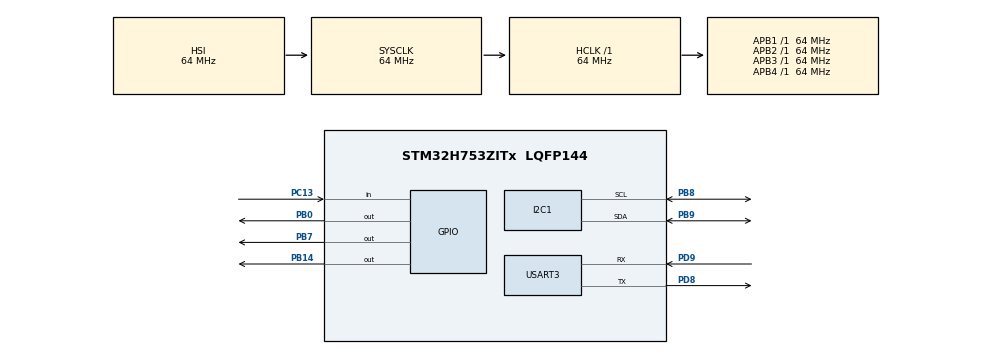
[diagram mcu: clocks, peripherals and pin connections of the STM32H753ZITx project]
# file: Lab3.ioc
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CORTEX_M7.CPU_DCache=Disabled
CORTEX_M7.CPU_ICache=Disabled
CORTEX_M7.MPU_Control=__NULL
CORTEX_M7.default_mode_Activation=1
Dma.I2C1_RX.1.Direction=DMA_PERIPH_TO_MEMORY
Dma.I2C1_RX.1.EventEnable=DISABLE
Dma.I2C1_RX.1.FIFOMode=DMA_FIFOMODE_DISABLE
Dma.I2C1_RX.1.Instance=DMA1_Stream1
Dma.I2C1_RX.1.MemDataAlignment=DMA_MDATAALIGN_BYTE
Dma.I2C1_RX.1.MemInc=DMA_MINC_ENABLE
Dma.I2C1_RX.1.Mode=DMA_NORMAL
Dma.I2C1_RX.1.PeriphDataAlignment=DMA_PDATAALIGN_BYTE
Dma.I2C1_RX.1.PeriphInc=DMA_PINC_DISABLE
Dma.I2C1_RX.1.Polarity=HAL_DMAMUX_REQ_GEN_RISING
Dma.I2C1_RX.1.Priority=DMA_PRIORITY_LOW
Dma.I2C1_RX.1.RequestNumber=1
Dma.I2C1_RX.1.SignalID=NONE
Dma.I2C1_RX.1.SyncEnable=DISABLE
Dma.I2C1_RX.1.SyncPolarity=HAL_DMAMUX_SYNC_NO_EVENT
Dma.I2C1_RX.1.SyncRequestNumber=1
Dma.I2C1_RX.1.SyncSignalID=NONE
Dma.I2C1_TX.0.Direction=DMA_MEMORY_TO_PERIPH
Dma.I2C1_TX.0.EventEnable=DISABLE
Dma.I2C1_TX.0.FIFOMode=DMA_FIFOMODE_DISABLE
Dma.I2C1_TX.0.Instance=DMA1_Stream0
Dma.I2C1_TX.0.MemDataAlignment=DMA_MDATAALIGN_BYTE
Dma.I2C1_TX.0.MemInc=DMA_MINC_ENABLE
Dma.I2C1_TX.0.Mode=DMA_NORMAL
Dma.I2C1_TX.0.PeriphDataAlignment=DMA_PDATAALIGN_BYTE
Dma.I2C1_TX.0.PeriphInc=DMA_PINC_DISABLE
Dma.I2C1_TX.0.Polarity=HAL_DMAMUX_REQ_GEN_RISING
Dma.I2C1_TX.0.Priority=DMA_PRIORITY_LOW
Dma.I2C1_TX.0.RequestNumber=1
Dma.I2C1_TX.0.SignalID=NONE
Dma.I2C1_TX.0.SyncEnable=DISABLE
Dma.I2C1_TX.0.SyncPolarity=HAL_DMAMUX_SYNC_NO_EVENT
Dma.I2C1_TX.0.SyncRequestNumber=1
Dma.I2C1_TX.0.SyncSignalID=NONE
Dma.Request0=I2C1_TX
Dma.Request1=I2C1_RX
Mcu.Family=STM32H7
Mcu.Name=STM32H753ZITx
Mcu.Package=LQFP144
NUCLEO-H753ZI.BUTTON=1
NUCLEO-H753ZI.LD1=true
NUCLEO-H753ZI.LD2=true
NUCLEO-H753ZI.LD3=true
NUCLEO-H753ZI.VCP=false
NVIC.DMA1_Stream0_IRQn=true\:0\:0\:false\:false\:true\:false\:true\:true
NVIC.DMA1_Stream1_IRQn=true\:0\:0\:false\:false\:true\:false\:true\:true
NVIC.EXTI15_10_IRQn=true\:0\:0\:false\:false\:true\:false\:true\:true
NVIC.I2C1_ER_IRQn=true\:0\:0\:false\:false\:true\:true\:true\:true
NVIC.I2C1_EV_IRQn=true\:0\:0\:false\:false\:true\:true\:true\:true
NVIC.PriorityGroup=NVIC_PRIORITYGROUP_4
NVIC.USART3_IRQn=true\:0\:0\:false\:false\:true\:true\:true\:true
PB0.Signal=GPIO_Output
PB14.Signal=GPIO_Output
PB7.Signal=GPIO_Output
PB8.GPIO_Pu=GPIO_PULLUP
PB8.GPIO_Speed=GPIO_SPEED_FREQ_VERY_HIGH
PB8.Mode=I2C
PB8.Signal=I2C1_SCL
PB9.GPIO_Pu=GPIO_PULLUP
PB9.GPIO_Speed=GPIO_SPEED_FREQ_VERY_HIGH
PB9.Mode=I2C
PB9.Signal=I2C1_SDA
PC13.Signal=GPIO_Input
PC14-OSC32_IN\ (OSC32_IN).Signal=RCC_OSC32_IN
PC15-OSC32_OUT\ (OSC32_OUT).Signal=RCC_OSC32_OUT
PD8.GPIO_Speed=GPIO_SPEED_FREQ_VERY_HIGH
PD8.Mode=Asynchronous
PD8.Signal=USART3_TX
PD9.GPIO_Speed=GPIO_SPEED_FREQ_VERY_HIGH
PD9.Mode=Asynchronous
PD9.Signal=USART3_RX
PH0-OSC_IN\ (PH0).Signal=RCC_OSC_IN
PH1-OSC_OUT\ (PH1).Signal=RCC_OSC_OUT
ProjectManager.HeapSize=0x200
ProjectManager.StackSize=0x400
ProjectManager.TargetToolchain=STM32CubeIDE
RCC.ADCFreq_Value=129000000
RCC.APB1Freq_Value=64000000
RCC.APB2Freq_Value=64000000
RCC.APB3Freq_Value=64000000
RCC.APB4Freq_Value=64000000
RCC.CortexFreq_Value=64000000
RCC.DIVM1=1
RCC.DIVN1=24
RCC.DIVQ1=4
RCC.HCLKFreq_Value=64000000
RCC.HSE_VALUE=8000000
RCC.PLLFRACN=0
RCC.PWR_Regulator_Voltage_Scale=PWR_REGULATOR_VOLTAGE_SCALE2
RCC.SYSCLKFreq_VALUE=64000000
RCC.USBFreq_Value=384000000
USART3.VirtualMode-Asynchronous=VM_ASYNC
VP_MEMORYMAP_VS_MEMORYMAP.Mode=CurAppReg
VP_NUCLEO-H753ZI_VS_BSP_COMMON.Mode=COMMON
board=NUCLEO-H753ZI

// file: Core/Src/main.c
/* USER CODE BEGIN Header */
/**
  ******************************************************************************
  * @file           : main.c
  * @brief          : Main program body
  ******************************************************************************
  * @attention
  *
  * Copyright (c) 2025 STMicroelectronics.
  * All rights reserved.
  *
  * This software is licensed under terms that can be found in the LICENSE file
  * in the root directory of this software component.
  * If no LICENSE file comes with this software, it is provided AS-IS.
  *
  ******************************************************************************
  */
/* USER CODE END Header */
#include "main.h"

/* USER CODE BEGIN Includes */
#include <stdio.h>
#include <string.h>
#include <stdint.h>
/* USER CODE END Includes */

I2C_HandleTypeDef hi2c1;
DMA_HandleTypeDef hdma_i2c1_tx;
DMA_HandleTypeDef hdma_i2c1_rx;

UART_HandleTypeDef huart3;

/* USER CODE BEGIN PV */
uint8_t ADXL_Bytes [1];
static const uint8_t ADDR = 0x53<<1; /*Shift for 7-bit addresses*/
static const uint8_t DATA_FORMAT = 0x31;
static const uint8_t PWRCTL = 0x2D;
static const uint8_t DATA_X0 = 0x32;
static const uint8_t DATA_X1 = 0x33;
static const uint8_t DATA_Y0 = 0x34;
static const uint8_t DATA_Y1 = 0x35;
static const uint8_t DATA_Z0 = 0x36;
static const uint8_t DATA_Z1 = 0x37;

/* USER CODE END PV */

void SystemClock_Config(void);
static void MX_GPIO_Init(void);
static void MX_DMA_Init(void);
static void MX_I2C1_Init(void);
static void MX_USART3_UART_Init(void);

int main(void)
{

  /* USER CODE BEGIN 1 */
HAL_StatusTypeDef ret;
uint8_t REGISTER;
uint8_t DATA;
uint8_t DATA_WRITE[2];
  /* USER CODE END 1 */

  /* MCU Configuration--------------------------------------------------------*/

  /* Reset of all peripherals, Initializes the Flash interface and the Systick. */
  HAL_Init();

  /* Configure the system clock */
  SystemClock_Config();

  /* Initialize all configured peripherals */
  MX_GPIO_Init();
  MX_DMA_Init();
  MX_I2C1_Init();
  MX_USART3_UART_Init();
  /* USER CODE BEGIN 2 */
  REGISTER = DATA_FORMAT;
  DATA = 0x00;
  DATA_WRITE[0] = REGISTER;
  DATA_WRITE[1] = DATA;
  ret = HAL_I2C_Master_Transmit(&hi2c1,ADDR,DATA_WRITE,2,HAL_MAX_DELAY);

  REGISTER = PWRCTL;
  DATA = 0x00;
  DATA_WRITE[0] = REGISTER;
  DATA_WRITE[1] = DATA;
  ret = HAL_I2C_Master_Transmit(&hi2c1,ADDR,DATA_WRITE,2,HAL_MAX_DELAY);

  REGISTER = PWRCTL;
  DATA = 0x08;
  DATA_WRITE[0] = REGISTER;
  DATA_WRITE[1] = DATA;
  ret = HAL_I2C_Master_Transmit(&hi2c1,ADDR,DATA_WRITE,2,HAL_MAX_DELAY);

  /* USER CODE END 2 */

  /* Initialize leds */
  BSP_LED_Init(LED_GREEN);
  BSP_LED_Init(LED_BLUE);
  BSP_LED_Init(LED_RED);

  /* Initialize USER push-button, will be used to trigger an interrupt each time it's pressed.*/
  BSP_PB_Init(BUTTON_USER, BUTTON_MODE_EXTI);

  /* Infinite loop */
  while (1)
  {

    /* USER CODE BEGIN 3 */
	REGISTER = DATA_X0;
	uint8_t RAWACCEL[6];

	//ret = HAL_I2C_Master_Transmit(&hi2c1,ADDR,&REGISTER,1,HAL_MAX_DELAY);
	//HAL_Delay(1);
	//ret = HAL_I2C_Master_Receive(&hi2c1,ADDR,RAWACCEL,6,HAL_MAX_DELAY);

	HAL_I2C_Mem_Read(&hi2c1, ADDR, DATA_X0, I2C_MEMADD_SIZE_8BIT, RAWACCEL, 6, HAL_MAX_DELAY);

	int16_t x = (int16_t)((RAWACCEL[1]<<8)|RAWACCEL[0]);
	int16_t y = (int16_t)((RAWACCEL[3]<<8)|RAWACCEL[2]);
	int16_t z = (int16_t)((RAWACCEL[5]<<8)|RAWACCEL[4]);

	char DebugTxMsg[33];
	snprintf(DebugTxMsg, sizeof(DebugTxMsg), "Prescaled: X: %d Y: %d Z: %d \n", x, y, z);
	HAL_UART_Transmit(&huart3,(uint8_t*)DebugTxMsg, strlen(DebugTxMsg),30);

	float x_scaled = x * 0.0039f;
	float y_scaled = y * 0.0039f;
	float z_scaled = z * 0.0039f;

	char TxMsg[40];
	snprintf(TxMsg, sizeof(TxMsg), "Scaled: X: %3.2f Y: %3.2f Z: %3.2f \n\n", x_scaled, y_scaled, z_scaled);
	HAL_UART_Transmit(&huart3,(uint8_t*)TxMsg, strlen(TxMsg),30);

	HAL_Delay(1000);

  }
  /* USER CODE END 3 */
}

void SystemClock_Config(void)
{
  RCC_OscInitTypeDef RCC_OscInitStruct = {0};
  RCC_ClkInitTypeDef RCC_ClkInitStruct = {0};

  /** Supply configuration update enable
  */
  HAL_PWREx_ConfigSupply(PWR_LDO_SUPPLY);

  /** Configure the main internal regulator output voltage
  */
  __HAL_PWR_VOLTAGESCALING_CONFIG(PWR_REGULATOR_VOLTAGE_SCALE2);

  while(!__HAL_PWR_GET_FLAG(PWR_FLAG_VOSRDY)) {}

  /** Initializes the RCC Oscillators according to the specified parameters
  * in the RCC_OscInitTypeDef structure.
  */
  RCC_OscInitStruct.OscillatorType = RCC_OSCILLATORTYPE_HSI;
  RCC_OscInitStruct.HSIState = RCC_HSI_DIV1;
  RCC_OscInitStruct.HSICalibrationValue = RCC_HSICALIBRATION_DEFAULT;
  RCC_OscInitStruct.PLL.PLLState = RCC_PLL_NONE;
  if (HAL_RCC_OscConfig(&RCC_OscInitStruct) != HAL_OK)
  {
    Error_Handler();
  }

  /** Initializes the CPU, AHB and APB buses clocks
  */
  RCC_ClkInitStruct.ClockType = RCC_CLOCKTYPE_HCLK|RCC_CLOCKTYPE_SYSCLK
                              |RCC_CLOCKTYPE_PCLK1|RCC_CLOCKTYPE_PCLK2
                              |RCC_CLOCKTYPE_D3PCLK1|RCC_CLOCKTYPE_D1PCLK1;
  RCC_ClkInitStruct.SYSCLKSource = RCC_SYSCLKSOURCE_HSI;
  RCC_ClkInitStruct.SYSCLKDivider = RCC_SYSCLK_DIV1;
  RCC_ClkInitStruct.AHBCLKDivider = RCC_HCLK_DIV1;
  RCC_ClkInitStruct.APB3CLKDivider = RCC_APB3_DIV1;
  RCC_ClkInitStruct.APB1CLKDivider = RCC_APB1_DIV1;
  RCC_ClkInitStruct.APB2CLKDivider = RCC_APB2_DIV1;
  RCC_ClkInitStruct.APB4CLKDivider = RCC_APB4_DIV1;

  if (HAL_RCC_ClockConfig(&RCC_ClkInitStruct, FLASH_LATENCY_1) != HAL_OK)
  {
    Error_Handler();
  }
}

static void MX_I2C1_Init(void)
{

  hi2c1.Instance = I2C1;
  hi2c1.Init.Timing = 0x10707DBC;
  hi2c1.Init.OwnAddress1 = 0;
  hi2c1.Init.AddressingMode = I2C_ADDRESSINGMODE_7BIT;
  hi2c1.Init.DualAddressMode = I2C_DUALADDRESS_DISABLE;
  hi2c1.Init.OwnAddress2 = 0;
  hi2c1.Init.OwnAddress2Masks = I2C_OA2_NOMASK;
  hi2c1.Init.GeneralCallMode = I2C_GENERALCALL_DISABLE;
  hi2c1.Init.NoStretchMode = I2C_NOSTRETCH_DISABLE;
  if (HAL_I2C_Init(&hi2c1) != HAL_OK)
  {
    Error_Handler();
  }

  /** Configure Analogue filter
  */
  if (HAL_I2CEx_ConfigAnalogFilter(&hi2c1, I2C_ANALOGFILTER_ENABLE) != HAL_OK)
  {
    Error_Handler();
  }

  /** Configure Digital filter
  */
  if (HAL_I2CEx_ConfigDigitalFilter(&hi2c1, 0) != HAL_OK)
  {
    Error_Handler();
  }

}

static void MX_USART3_UART_Init(void)
{

  huart3.Instance = USART3;
  huart3.Init.BaudRate = 115200;
  huart3.Init.WordLength = UART_WORDLENGTH_8B;
  huart3.Init.StopBits = UART_STOPBITS_1;
  huart3.Init.Parity = UART_PARITY_NONE;
  huart3.Init.Mode = UART_MODE_TX_RX;
  huart3.Init.HwFlowCtl = UART_HWCONTROL_NONE;
  huart3.Init.OverSampling = UART_OVERSAMPLING_16;
  huart3.Init.OneBitSampling = UART_ONE_BIT_SAMPLE_DISABLE;
  huart3.Init.ClockPrescaler = UART_PRESCALER_DIV1;
  huart3.AdvancedInit.AdvFeatureInit = UART_ADVFEATURE_NO_INIT;
  if (HAL_UART_Init(&huart3) != HAL_OK)
  {
    Error_Handler();
  }
  if (HAL_UARTEx_SetTxFifoThreshold(&huart3, UART_TXFIFO_THRESHOLD_1_8) != HAL_OK)
  {
    Error_Handler();
  }
  if (HAL_UARTEx_SetRxFifoThreshold(&huart3, UART_RXFIFO_THRESHOLD_1_8) != HAL_OK)
  {
    Error_Handler();
  }
  if (HAL_UARTEx_DisableFifoMode(&huart3) != HAL_OK)
  {
    Error_Handler();
  }

}

static void MX_DMA_Init(void)
{

  /* DMA controller clock enable */
  __HAL_RCC_DMA1_CLK_ENABLE();

  /* DMA interrupt init */
  /* DMA1_Stream0_IRQn interrupt configuration */
  HAL_NVIC_SetPriority(DMA1_Stream0_IRQn, 0, 0);
  HAL_NVIC_EnableIRQ(DMA1_Stream0_IRQn);
  /* DMA1_Stream1_IRQn interrupt configuration */
  HAL_NVIC_SetPriority(DMA1_Stream1_IRQn, 0, 0);
  HAL_NVIC_EnableIRQ(DMA1_Stream1_IRQn);

}

static void MX_GPIO_Init(void)
{

  /* GPIO Ports Clock Enable */
  __HAL_RCC_GPIOC_CLK_ENABLE();
  __HAL_RCC_GPIOH_CLK_ENABLE();
  __HAL_RCC_GPIOD_CLK_ENABLE();
  __HAL_RCC_GPIOB_CLK_ENABLE();

}

void Error_Handler(void)
{
  __disable_irq();
  while (1)
  {
  }
}
